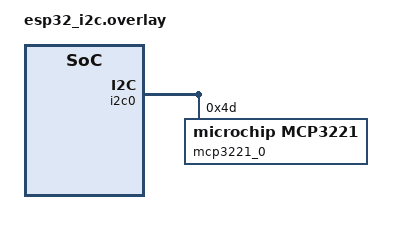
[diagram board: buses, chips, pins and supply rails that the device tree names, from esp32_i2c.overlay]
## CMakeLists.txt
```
# SPDX-License-Identifier: Apache-2.0

cmake_minimum_required(VERSION 3.20.0)
find_package(Zephyr REQUIRED HINTS $ENV{ZEPHYR_BASE})
project(mcp3221_poc)

target_sources(app PRIVATE src/main.c)
```

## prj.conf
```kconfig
CONFIG_I2C=y
CONFIG_SENSOR=y
CONFIG_LOG=y
CONFIG_MCP3221=y
```

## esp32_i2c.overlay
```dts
/*
 * Prova de conceito: declara um MCP3221 no barramento I2C0 do
 * esp32_devkitc_wroom (SDA=GPIO21, SCL=GPIO22, já ativo por omissão na
 * board). Endereço 0x4D corresponde à variante MCP3221A5T-E/OT.
 */
&i2c0 {
	mcp3221_0: mcp3221@4d {
		compatible = "microchip,mcp3221";
		reg = <0x4d>;
	};
};
```

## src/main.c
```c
/*
 * Origem: escrito de raiz nesta colaboração (Claude), não copiado de
 * nenhum repositório.
 *
 * Prova de conceito do driver out-of-tree para o MCP3221 (secção 3.5/8.4
 * do relatório). Sem o chip físico ligado, esta aplicação valida que o
 * driver compila, regista o dispositivo via devicetree e é corretamente
 * chamado pela API de sensores do Zephyr - não valida a leitura real do
 * ADC.
 */

#include <zephyr/kernel.h>
#include <zephyr/device.h>
#include <zephyr/drivers/sensor.h>
#include <zephyr/sys/printk.h>

int main(void)
{
	const struct device *const mcp3221 = DEVICE_DT_GET(DT_NODELABEL(mcp3221_0));

	if (!device_is_ready(mcp3221)) {
		printk("MCP3221 nao pronto (esperado sem hardware fisico ligado)\n");
	} else {
		printk("MCP3221 pronto\n");
	}

	while (1) {
		int err = sensor_sample_fetch(mcp3221);

		if (err == 0) {
			struct sensor_value val;

			sensor_channel_get(mcp3221, SENSOR_CHAN_VOLTAGE, &val);
			printk("MCP3221 tensao: %d.%06d V\n", val.val1, val.val2);
		} else {
			printk("sensor_sample_fetch falhou: %d\n", err);
		}

		k_sleep(K_SECONDS(2));
	}

	return 0;
}
```
